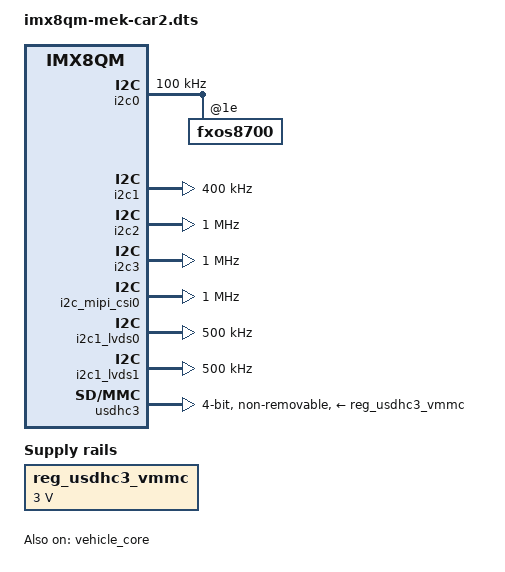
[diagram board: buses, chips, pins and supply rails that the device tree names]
/*
 * Copyright 2020-2022 NXP
 *
 * This program is free software; you can redistribute it and/or
 * modify it under the terms of the GNU General Public License
 * as published by the Free Software Foundation; either version 2
 * of the License, or (at your option) any later version.
 *
 * This program is distributed in the hope that it will be useful,
 * but WITHOUT ANY WARRANTY; without even the implied warranty of
 * MERCHANTABILITY or FITNESS FOR A PARTICULAR PURPOSE.  See the
 * GNU General Public License for more details.
 */

#include "imx8qm-mek-rpmsg.dts"

/ {
	reg_usdhc3_vmmc: usdhc3-vmmc {
		compatible = "regulator-fixed";
		regulator-name = "SD3_SPWR";
		regulator-min-microvolt = <3000000>;
		regulator-max-microvolt = <3000000>;
		power-domains = <&pd IMX_SC_R_BOARD_R3>;
	};
};

&i2c0 {
	clock-frequency = <100000>;
	isl29023@44 {
		status = "disabled";
	};

	fxos8700@1e {
		status = "okay";
	};

	fxas2100x@20 {
		status = "disabled";
	};

	/* max7322 used for fec2 */
	gpio@68 {
		status = "disabled";
	};

	mpl3115@60 {
		status = "disabled";
	};
};

&i2c1 {
	clock-frequency = <400000>;
};

&i2c2 {
	clock-frequency = <1000000>;
};

&i2c3 {
	clock-frequency = <1000000>;
};

&i2c_mipi_csi0 {
	clock-frequency = <1000000>;
};

&i2c1_lvds0 {
	clock-frequency = <500000>;
};

&i2c1_lvds1 {
	clock-frequency = <500000>;
};

&i2c0_mipi0 {
	status = "disabled";
};

&mipi0_dphy {
	status = "disabled";
};

&mipi0_dsi_host {
	status = "disabled";
};

&i2c0_mipi1 {
	status = "disabled";
};

&mipi1_dphy {
	status = "disabled";
};

&mipi1_dsi_host {
	status = "disabled";
};

&pwm_lvds0 {
	status = "disabled";
};

&pwm_lvds1 {
	status = "disabled";
};

&lvds_backlight0 {
	status = "disabled";
};

&lvds_backlight1 {
	status = "disabled";
};

&i2c0_hdmi {
	status = "disabled";
};

&iomuxc {
	pinctrl_usdhc3_gpio: usdhc3grpgpio {
		fsl,pins = <
			IMX8QM_USDHC2_VSELECT_LSIO_GPIO4_IO10	0x00000021
		>;
	};

	pinctrl_usdhc3: usdhc3grp {
		fsl,pins = <
			IMX8QM_USDHC2_CLK_CONN_USDHC2_CLK	0x06000041
			IMX8QM_USDHC2_CMD_CONN_USDHC2_CMD	0x00000021
			IMX8QM_USDHC2_DATA0_CONN_USDHC2_DATA0	0x00000021
			IMX8QM_USDHC2_DATA1_CONN_USDHC2_DATA1	0x00000021
			IMX8QM_USDHC2_DATA2_CONN_USDHC2_DATA2	0x00000021
			IMX8QM_USDHC2_DATA3_CONN_USDHC2_DATA3	0x00000021
		>;
	};
};

&usdhc2 {
	status = "disabled";
};

&usdhc3 {
	pinctrl-names = "default", "state_100mhz", "state_200mhz";
	pinctrl-0 = <&pinctrl_usdhc3>,<&pinctrl_usdhc3_gpio>;
	pinctrl-1 = <&pinctrl_usdhc3>,<&pinctrl_usdhc3_gpio>;
	pinctrl-2 = <&pinctrl_usdhc3>,<&pinctrl_usdhc3_gpio>;
	bus-width = <4>;
	pinctrl-assert-gpios = <&lsio_gpio4 10 GPIO_ACTIVE_HIGH>;
	pm-ignore-notify;
	keep-power-in-suspend;
	non-removable;
	cap-power-off-card;
	vmmc-supply = <&reg_usdhc3_vmmc>;
	status = "okay";
};

&amix {
	status = "disabled";
};

&asrc0 {
	status = "disabled";
};

&wm8960 {
	quick-probe;
};

&vehicle_core {
	status = "okay";
};

&sata {
	status = "disabled";
};

&pcieb{
	status = "disabled";
};

/* used for can io expander */
&pca6416 {
	status = "disabled";
};

&fec2 {
	status = "disabled";
};

&sai6 {
	status = "disabled";
};

&sai7 {
	status = "disabled";
};

&emvsim0 {
	status = "disabled";
};

&flexspi0 {
	status = "disabled";
};

&crypto {
	status = "disabled";
};

